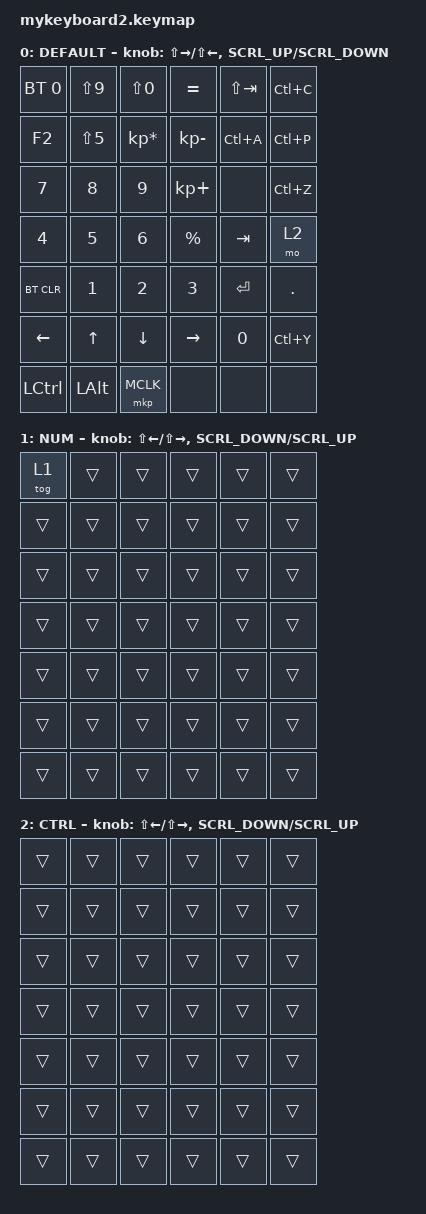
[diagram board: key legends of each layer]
#define ZMK_POINTING_DEFAULT_SCRL_VAL 150
#include <dt-bindings/zmk/outputs.h>
#include <behaviors.dtsi>
#include <dt-bindings/zmk/keys.h>
#include <dt-bindings/zmk/bt.h>
#include <dt-bindings/zmk/mouse.h>

// Layer Numbering

#define DEFAULT 0
#define NUM     1
#define CTRL    2

/ {
    behaviors {
        sensor_rotate_kp: sensor_rotate_kp {
            compatible = "zmk,behavior-sensor-rotate-var";
            #sensor-binding-cells = <2>;
            bindings = <&kp>, <&kp>;
        };

        mouse_wheel_scroll: mouse_wheel_scroll {
            compatible = "zmk,behavior-sensor-rotate-var";
            #sensor-binding-cells = <2>;
            bindings = <&msc>, <&msc>;

            tap-ms = <20>;
        };
    };

    macros {
        mclk_hold_tap: mclk_hold_tap {
            compatible = "zmk,behavior-hold-tap";
            #binding-cells = <2>;
            bindings = <&mkp>, <&mkp>;
            tapping-term-ms = <200>;
            flavor = "tap-preferred";
        };

        shift_left: shift_left {
            compatible = "zmk,behavior-macro";
            #binding-cells = <0>;
            bindings = <&kp LS(LEFT)>;
        };
    
        shift_right: shift_right {
            compatible = "zmk,behavior-macro";
            #binding-cells = <0>;
            bindings = <&kp LS(RIGHT)>;
        };
        mouse_copy: mouse_copy {
            compatible = "zmk,behavior-macro";
            #binding-cells = <0>;

            bindings =
                <&mkp RCLK>
                , <&macro_wait_time 100>
                , <&kp C>
                ;
        };

        mouse_paste: mouse_paste {
            compatible = "zmk,behavior-macro";
            #binding-cells = <0>;

            bindings =
                <&mkp RCLK>
                , <&macro_wait_time 100>
                , <&kp LC(V)>
                ;
        };
    };


    keymap {
        compatible = "zmk,keymap";

        default_layer {
            label = "DEFAULT";
            bindings = <
                &bt BT_SEL 0     &kp LS(N9)      &kp LS(N0)  &kp EQUAL   &kp LS(TAB)      &kp LC(C)
                &kp F2    &kp LS(N5)     &kp KP_MULTIPLY    &kp KP_MINUS    &kp LC(A)    &kp LC(P)
                &kp N7     &kp N8    &kp N9    &kp KP_PLUS   &none    &kp LC(Z)
                &kp N4     &kp N5    &kp N6    &kp PRCNT    &kp TAB   &mo 2
                &bt BT_CLR    &kp N1     &kp N2    &kp N3    &kp ENTER    &kp DOT
                &kp LEFT     &kp UP    &kp DOWN    &kp RIGHT    &kp N0     &kp LC(Y)
                &kp LCTRL     &kp LALT    &mkp MCLK    &none        &none    &none
            >;
            sensor-bindings = 
                <&sensor_rotate_kp LS(RIGHT) LS(LEFT)>,
                <&mouse_wheel_scroll SCRL_UP SCRL_DOWN>;
        };

        num_layer {
            label = "NUM";
            bindings = <
                &tog 1    &trans    &trans    &trans    &trans    &trans
                &trans    &trans    &trans    &trans    &trans    &trans
                &trans    &trans    &trans    &trans    &trans    &trans
                &trans    &trans    &trans    &trans    &trans    &trans
                &trans    &trans    &trans    &trans    &trans    &trans
                &trans    &trans    &trans    &trans    &trans    &trans
                &trans    &trans    &trans    &trans    &trans    &trans
            >;

            sensor-bindings = 
                <&sensor_rotate_kp LS(LEFT) LS(RIGHT)>,
                <&mouse_wheel_scroll SCRL_DOWN SCRL_UP>;
        };
        layer_2 {
            label = "CTRL";
            bindings = <
                &trans    &trans    &trans    &trans    &trans    &trans
                &trans    &trans    &trans    &trans    &trans    &trans
                &trans    &trans    &trans    &trans    &trans    &trans
                &trans    &trans    &trans    &trans    &trans    &trans
                &trans    &trans    &trans    &trans    &trans    &trans
                &trans    &trans    &trans    &trans    &trans    &trans
                &trans    &trans    &trans    &trans    &trans    &trans
            >;
            sensor-bindings = 
                <&sensor_rotate_kp LS(LEFT) LS(RIGHT)>,
                <&mouse_wheel_scroll SCRL_DOWN SCRL_UP>;
            
            
        };
    };
};
